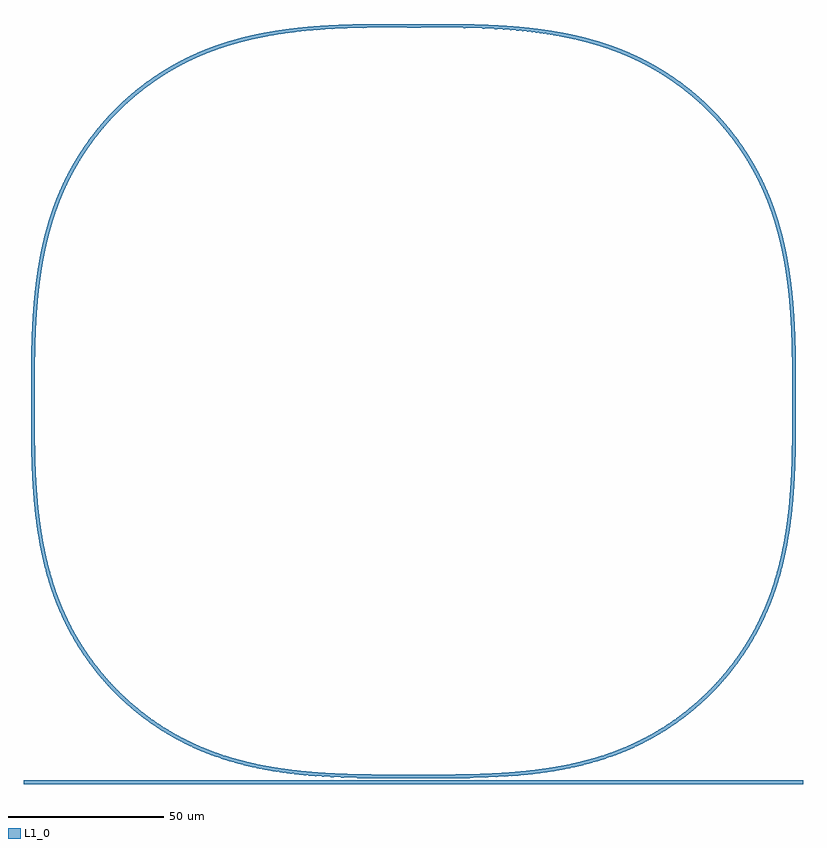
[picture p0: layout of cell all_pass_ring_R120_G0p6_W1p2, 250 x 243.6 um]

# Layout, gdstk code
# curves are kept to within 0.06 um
from math import pi, radians
import gdstk
lib = gdstk.Library(unit=1e-6, precision=1e-09)
def R(c, l, rs):  # rectangles x0, y0, x1, y1
    for r in rs: c.add(gdstk.rectangle(r[:2], r[2:], *l))
def P(c, l, *ps):  # polygons
    for p in ps: c.add(gdstk.Polygon(p, *l))
L1_0 = (1, 0)

coupler_ring_gdsfactoryp = lib.new_cell('coupler_ring_gdsfactorypcomponentspcouplerspcoupler_rin_5a4cd2e5')
R(coupler_ring_gdsfactoryp, L1_0, [(-127,-0.6,123,0.6)])
P(coupler_ring_gdsfactoryp, L1_0, [(-6.534,1.2),(-16.411,1.256),(-24.691,1.461),(-32.034,1.85),(-38.299,2.392),(-44.278,3.134),(-50.486,4.183),(-56.246,5.455),(-61.418,6.882),(-66.507,8.59),(-71.737,10.71),(-76.704,13.111),(-81.275,15.688),(-85.79,18.618),(-90.216,21.91),(-94.221,25.301),(-98.104,29.028),(-101.48,32.687),(-105.046,37.071),(-108.24,41.569),(-111.203,46.381),(-113.664,51.016),(-115.939,56.042),(-117.885,61.191),(-119.485,66.313),(-120.872,71.772),(-122.008,77.422),(-122.94,83.512),(-123.617,89.632),(-124.111,96.302),(-124.395,102.712),(-124.563,110.992),(-124.6,121.8),(-123.4,121.8),(-123.344,109.406),(-123.119,100.623),(-122.656,92.523),(-121.948,85.249),(-121.22,79.987),(-120.258,74.632),(-119.116,69.586),(-117.847,64.986),(-116.175,59.957),(-114.313,55.279),(-112.113,50.597),(-109.562,45.944),(-106.797,41.571),(-103.93,37.586),(-100.662,33.575),(-96.874,29.489),(-92.824,25.663),(-88.844,22.357),(-84.559,19.227),(-80.313,16.51),(-75.558,13.868),(-70.886,11.646),(-66.092,9.716),(-60.814,7.953),(-55.699,6.556),(-49.997,5.311),(-44.369,4.36),(-37.91,3.558),(-31.287,3.002),(-23.98,2.636),(-16.394,2.456),(-6.534,2.4),(15.323,2.506),(22.507,2.738),(29.012,3.124),(35.759,3.759),(41.813,4.58),(47.428,5.595),(52.985,6.881),(58.459,8.465),(63.702,10.327),(68.338,12.299),(73.317,14.799),(77.896,17.481),(82.404,20.524),(86.706,23.852),(90.784,27.452),(94.621,31.307),(98.032,35.196),(101.431,39.611),(104.46,44.129),(107.316,49.067),(109.667,53.824),(111.759,58.84),(113.535,63.972),(114.886,68.687),(116.07,73.722),(117.072,79.07),(117.884,84.722),(118.656,92.523),(119.119,100.623),(119.344,109.406),(119.4,121.8),(120.6,121.8),(120.563,110.992),(120.395,102.712),(120.055,95.367),(119.516,88.566),(118.779,82.318),(117.768,76.104),(116.505,70.206),(114.996,64.639),(113.21,59.293),(111.09,54.063),(108.564,48.858),(105.832,44.065),(102.796,39.459),(99.384,34.954),(95.773,30.784),(91.9,26.855),(87.678,23.099),(83.434,19.789),(78.876,16.681),(74.009,13.809),(68.962,11.266),(64.264,9.258),(59.082,7.405),(53.286,5.719),(47.407,4.366),(41.735,3.353),(35.896,2.567),(29.502,1.958),(22.961,1.557),(15.616,1.312)])

bend_euler_gdsfactorypco = lib.new_cell('bend_euler_gdsfactorypcomponentspbendspbend_euler_R120__fd628697')
P(bend_euler_gdsfactorypco, L1_0, [(0,-0.6),(0,0.6),(12.394,0.656),(21.177,0.881),(29.277,1.344),(36.551,2.052),(41.813,2.78),(47.168,3.742),(52.214,4.884),(56.814,6.153),(62.092,7.916),(66.886,9.846),(71.558,12.068),(75.971,14.506),(80.449,17.352),(84.634,20.394),(88.625,23.687),(92.499,27.313),(96.137,31.176),(99.443,35.156),(102.573,39.441),(105.29,43.687),(107.932,48.442),(110.154,53.114),(112.084,57.908),(113.77,62.932),(115.084,67.658),(116.258,72.832),(117.22,78.187),(117.948,83.449),(118.656,90.723),(119.119,98.823),(119.344,107.606),(119.4,120),(120.6,120),(120.563,109.192),(120.395,100.912),(120.055,93.567),(119.58,87.432),(118.851,81.048),(117.889,74.962),(116.691,69.188),(115.263,63.74),(113.62,58.63),(111.679,53.621),(109.425,48.734),(106.867,43.998),(104.091,39.545),(100.883,35.057),(97.48,30.887),(93.631,26.749),(89.82,23.142),(85.476,19.528),(80.902,16.209),(76.582,13.473),(71.747,10.817),(66.75,8.479),(61.497,6.425),(56.26,4.737),(50.812,3.309),(45.038,2.111),(38.952,1.149),(32.568,0.42),(26.433,-0.055),(19.088,-0.395),(10.808,-0.563)])

straight_gdsfactorypcomp = lib.new_cell('straight_gdsfactorypcomponentspwaveguidespstraight_L4_N_7efc2f91')
R(straight_gdsfactorypcomp, L1_0, [(0,-0.6,4,0.6)])

c_straight_gdsfactorypcomp = lib.new_cell('straight_gdsfactorypcomponentspwaveguidespstraight_L0p6_36529a3f')
R(c_straight_gdsfactorypcomp, L1_0, [(0,-0.6,0.6,0.6)])

all_pass_ring_r120_g0p6_ = lib.new_cell('all_pass_ring_R120_G0p6_W1p2')
all_pass_ring_r120_g0p6_.add(gdstk.Reference(coupler_ring_gdsfactoryp, (0,0)))
all_pass_ring_r120_g0p6_.add(gdstk.Reference(bend_euler_gdsfactorypco, (-4,242.4), rotation=pi))
all_pass_ring_r120_g0p6_.add(gdstk.Reference(bend_euler_gdsfactorypco, (120,122.4), rotation=pi/2))
all_pass_ring_r120_g0p6_.add(gdstk.Reference(straight_gdsfactorypcomp, (0,242.4), rotation=pi))
all_pass_ring_r120_g0p6_.add(gdstk.Reference(c_straight_gdsfactorypcomp, (-124,121.8), rotation=pi/2))
all_pass_ring_r120_g0p6_.add(gdstk.Reference(c_straight_gdsfactorypcomp, (120,122.4), rotation=3*pi/2))

lib.write_gds('all_pass_ring_R120_G0p6_W1p2.gds')
